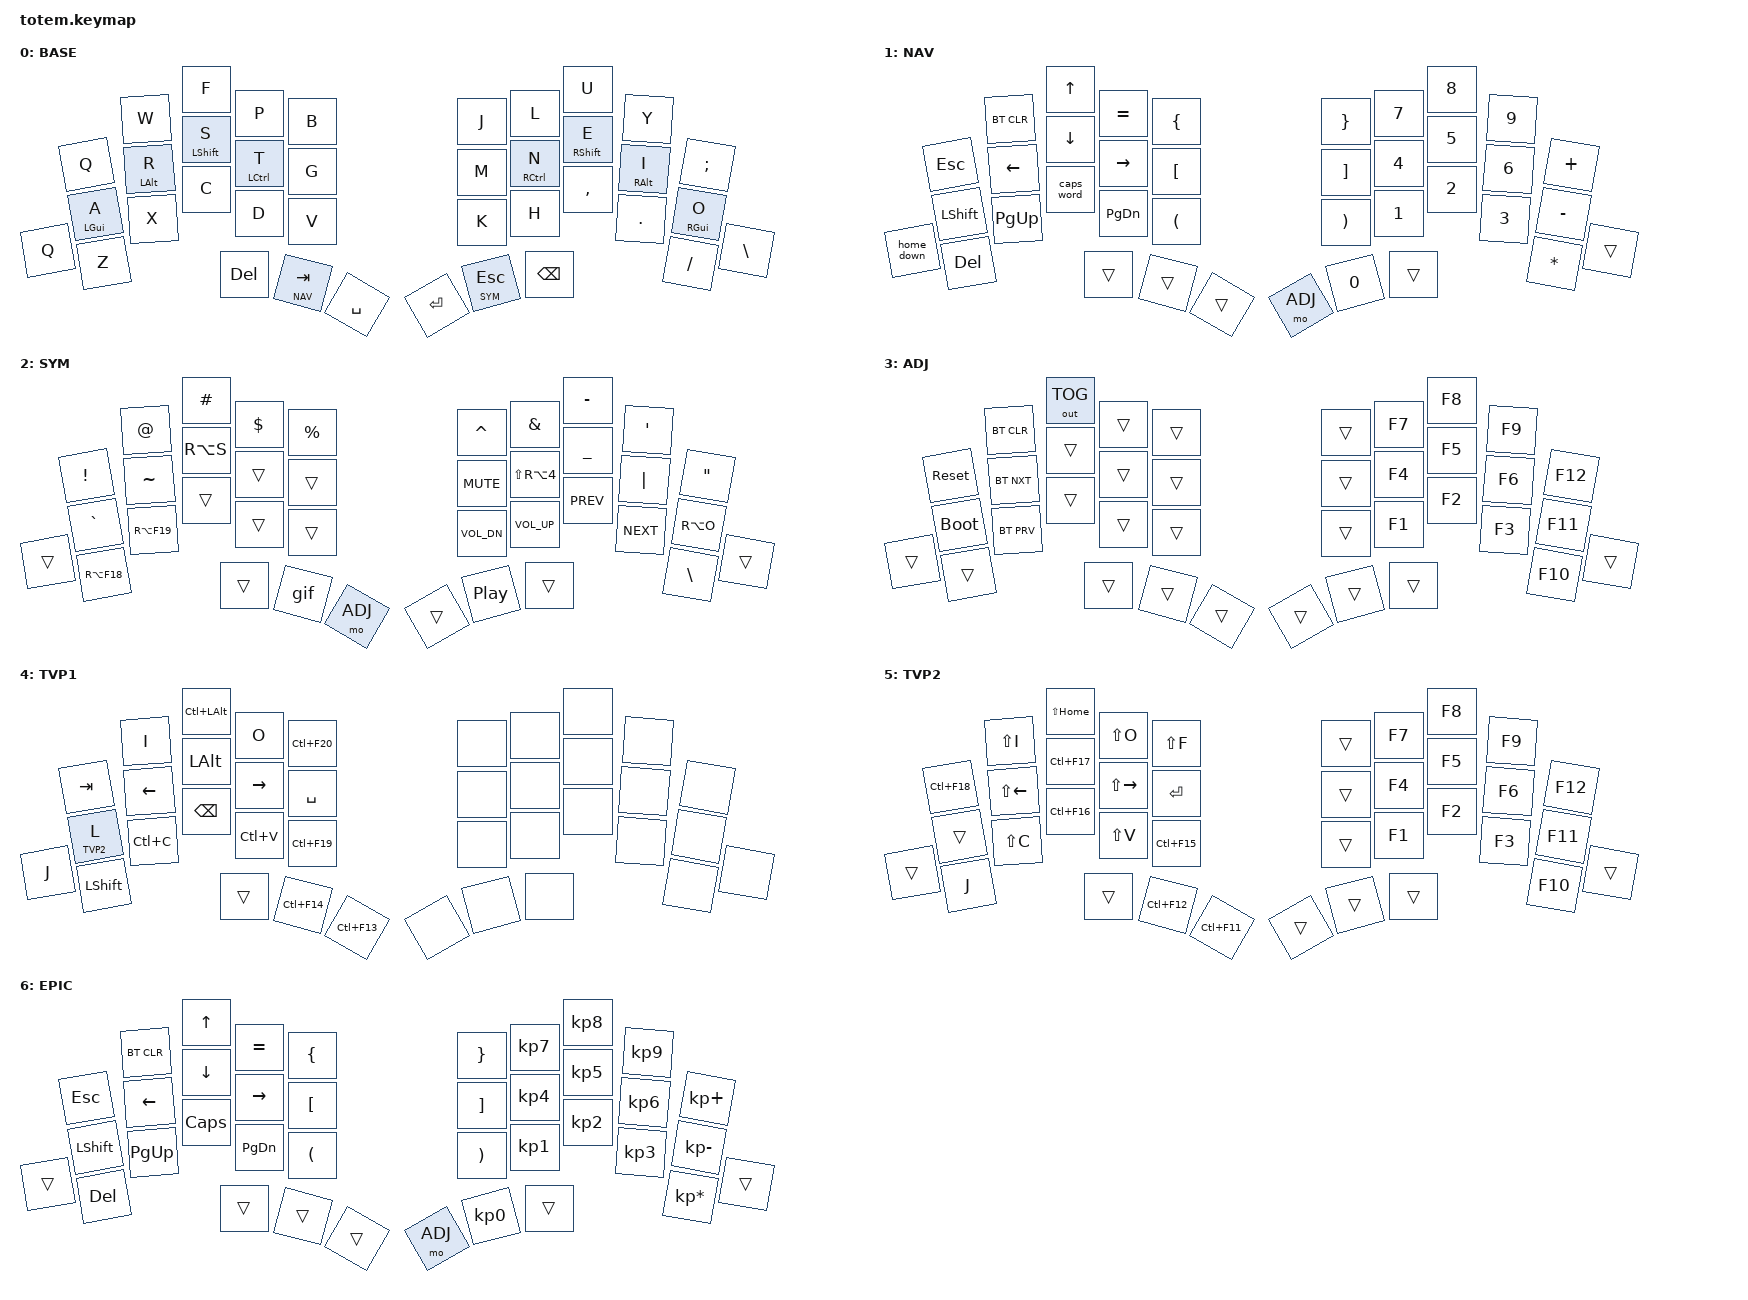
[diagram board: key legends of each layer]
//
//                                                        ▀▀▀▀▀     ▀▀▀▀▀          ▀▀█▀▀
//                                                        ▄▀▀▀▄  ▄  ▄▀▀▀▄  ▄  ▄▀▀▀▄  █  ▄▀▀▀▄
//                                                        █   █  █  █   █  █  █   █  █  █   █
//                                                         ▀▀▀   █   ▀▀▀   █   ▀▀▀   ▀   ▀▀▀
//                                                               █      ▄▄▄█▄▄▄    █   █  
//                                                               ▀      █  █  █     █▄█
//                                                             ▀▀▀▀▀    █  █  █      ▀
//                                                                      ▀  ▀  ▀
//
// ▄▄▄▄▄▄▄▄▄▄▄▄▄▄▄▄▄▄▄▄▄▄▄▄▄▄▄▄▄▄▄▄▄▄▄▄▄▄▄▄▄▄▄▄▄▄▄▄▄▄▄▄▄▄▄▄▄▄▄▄▄▄▄▄▄▄▄▄▄▄▄▄▄▄▄▄▄▄▄▄▄▄▄▄▄▄▄▄▄▄▄▄▄▄▄▄▄▄▄▄▄▄▄▄▄▄▄▄▄▄▄▄▄▄▄▄▄▄▄▄▄▄▄▄▄▄▄▄▄▄▄▄▄▄▄▄▄▄▄▄▄▄▄▄▄▄▄▄▄
       

#include <behaviors.dtsi>
#include <dt-bindings/zmk/keys.h>
#include <dt-bindings/zmk/bt.h>
#include <dt-bindings/zmk/outputs.h>

/* add urob's helpers */
#include "zmk-helpers/helper.h"
#include "zmk-helpers/key-labels/totem.h"

#define BASE 0
#define NAV  1
#define SYM  2
#define ADJ  3
#define TVP1 4
#define TVP2 5
#define EXTRA1 6
#define EXTRA2 7
#define EXTRA3 8
#define EPIC 9


/* Totem (38-key) position map, matching the common totem.keymap order:
 * Row1:  0  1  2  3  4 |  5  6  7  8  9
 * Row2: 10 11 12 13 14 | 15 16 17 18 19
 * Row3: 20 21 22 23 24 25 | 26 27 28 29 30 31
 * Thumbs: 32 33 34 | 35 36 37
 * (This layout order is shown in the Totem keymap’s bindings list.) :contentReference[oaicite:2]{index=2}
 */
/* urobs  key-labels */
 /*                                      38 KEY MATRIX / LAYOUT MAPPING

    ╭────────────────────┬────────────────────╮        ╭──────────────────────┬─────────────────────╮
    │  0   1   2   3   4 │  5   6   7   8   9 │        │  LT4 LT3 LT2 LT1 LT0 │ RT0 RT1 RT2 RT3 RT4 │
 ╭──╯ 10  11  12  13  14 │ 15  16  17  18  19 ╰───╮ ╭──╯  LM4 LM3 LM2 LM1 LM0 │ RM0 RM1 RM2 RM3 RM4 ╰───╮
 │ 20 21  22  23  24  25 │ 26  27  28  29  30  31 │ │ LB5 LB4 LB3 LB2 LB1 LB0 │ RB0 RB1 RB2 RB3 RB4 RB5 │
 ╰──────────╮ 32  33  34 │ 35  36  37 ╭───────────╯ ╰──────────╮  LH2 LH1 LH0 │ RH0 RH1 RH2 ╭───────────╯
            ╰────────────┴────────────╯                        ╰──────────────┴─────────────╯
*/
/* #define TOTEM_L_POS 0 1 2 3 4  10 11 12 13 14  20 21 22 23 24 25  32 33 34 */
/* #define TOTEM_R_POS 5 6 7 8 9  15 16 17 18 19  26 27 28 29 30 31  35 36 37 */

#define TOTEM_L_POS LT0 LT1 LT2 LT3 LT4 LM0 LM1 LM2 LM3 LM4 LB0 LB1 LB2 LB3 LB4 LH2 LH1 LH0 // left hand
#define TOTEM_R_POS RT0 RT1 RT2 RT3 RT4 RM0 RM1 RM2 RM3 RM4 RB0 RB1 RB2 RB3 RB4 RH2 RH1 RH0 // right hand
/* #define THUMBS LH1 LH0 RH0 RH1                                              // thumbs */

/ {
/*  https://zmk.dev/docs/keymaps/behaviors/hold-tap?examples=home_row_mods#custom-hold-tap-examples */

    behaviors {
        hml: home_row_mod_left {
            compatible = "zmk,behavior-hold-tap";
            #binding-cells = <2>;
            flavor = "balanced";
            require-prior-idle-ms = <150>;
            tapping-term-ms = <280>;
            quick-tap-ms = <175>;
            bindings = <&kp>, <&kp>;
            hold-trigger-key-positions = < TOTEM_R_POS >; // List of keys on the right side of the keyboard
            hold-trigger-on-release;
        };
        hmr: home_row_mod_right {
            compatible = "zmk,behavior-hold-tap";
            #binding-cells = <2>;
            flavor = "balanced";
            require-prior-idle-ms = <150>;
            tapping-term-ms = <280>;
            quick-tap-ms = <175>;
            bindings = <&kp>, <&kp>;
            hold-trigger-key-positions = < TOTEM_L_POS >; // List of keys on the left side of the keyboard hold-trigger-on-release;
            hold-trigger-on-release;
        };
    };
     combos {
            compatible = "zmk,combos";
            combo_esc {
                timeout-ms = <50>;
                key-positions = <0 1>;
                bindings = <&kp ESC>;
            };
            combo_tvp {
                timeout-ms = <100>;
                key-positions = <11 12 13>;
                bindings = <&tog TVP1>;
            };
    };

    macros {
        gif: gif {
            //label = "giphy";
            compatible = "zmk,behavior-macro";
            #binding-cells = <0>;
            bindings =
              <&macro_press &kp LSHFT>,
              <&macro_tap &kp N2>,
              <&macro_release &kp LSHFT>,
              <&macro_tap &kp G &kp I &kp F>;
        };
        home_down: home_down {
            //label = "home_down";
            compatible = "zmk,behavior-macro";
            #binding-cells = <0>;
            bindings =
              <&macro_press &kp HOME>,
              <&macro_tap &kp DOWN>,
              <&macro_release &kp HOME>;
        };
    };

    keymap {
            compatible = "zmk,keymap";
  // ▄▄▄▄▄▄▄▄▄▄▄▄▄▄▄▄▄▄▄▄▄▄▄▄▄▄▄▄▄▄▄▄▄▄▄▄▄▄▄▄▄▄▄▄▄▄▄▄▄▄▄▄▄▄▄▄▄▄▄▄▄▄▄▄▄▄▄▄▄▄▄▄▄▄▄▄▄▄▄▄▄▄▄▄▄▄▄▄▄▄▄▄▄▄▄▄▄▄▄▄▄▄▄▄▄▄▄▄▄▄▄▄▄▄▄▄▄▄▄▄▄▄▄▄▄▄▄▄▄▄▄▄▄▄▄▄▄▄▄▄▄▄▄▄▄▄▄▄▄

                BASE {
// ┏━━━━━━━━━━━━━━━━━━━━━━━━━━━━━━━━━━━━━━━┓
//label= "BASE"                              ;
// ┗━━━━━━━━━━━━━━━━━━━━━━━━━━━━━━━━━━━━━━━┛
//             ┏━━━━━━━━━━━┳━━━━━━━━━━━┳━━━━━━━━━━━┳━━━━━━━━━━━┳━━━━━━━━━━━┓   ┏━━━━━━━━━━━┳━━━━━━━━━━━┳━━━━━━━━━━━┳━━━━━━━━━━━┳━━━━━━━━━━━┓
//             ┃     Q     ┃     W     ┃     F     ┃     P     ┃     B     ┃   ┃     J     ┃     L     ┃     U     ┃     Y     ┃     ;     ┃
//             ┣━━━━━━━━━━━╋━━━━━━━━━━━╋━━━━━━━━━━━╋━━━━━━━━━━━╋━━━━━━━━━━━┫   ┣━━━━━━━━━━━╋━━━━━━━━━━━╋━━━━━━━━━━━╋━━━━━━━━━━━╋━━━━━━━━━━━┫
//             ┃     A     ┃     R     ┃     S     ┃     T     ┃     G     ┃   ┃     M     ┃     N     ┃     E     ┃     I     ┃     O     ┃
// ┏━━━━━━━━━━━╋━━━━━━━━━━━╋━━━━━━━━━━━╋━━━━━━━━━━━╋━━━━━━━━━━━╋━━━━━━━━━━━┫   ┣━━━━━━━━━━━╋━━━━━━━━━━━╋━━━━━━━━━━━╋━━━━━━━━━━━╋━━━━━━━━━━━╋━━━━━━━━━━━┓
// ┃     Q     ┃     Z     ┃     X     ┃     C     ┃     D     ┃     V     ┃   ┃     K     ┃     H     ┃     ,     ┃     .     ┃     /     ┃     \     ┃
// ┗━━━━━━━━━━━┻━━━━━━━━━━━┻━━━━━━━━━━━╋━━━━━━━━━━━╋━━━━━━━━━━━╋━━━━━━━━━━━┫   ┣━━━━━━━━━━━╋━━━━━━━━━━━╋━━━━━━━━━━━╋━━━━━━━━━━━┻━━━━━━━━━━━┻━━━━━━━━━━━┛
//                                     ┃    DEL    ┃    TAB    ┃    SPC    ┃   ┃   ENTER   ┃           ┃   BSPC    ┃
//                                     ┗━━━━━━━━━━━┻━━━━━━━━━━━┻━━━━━━━━━━━┛   ┗━━━━━━━━━━━┻━━━━━━━━━━━┻━━━━━━━━━━━┛
display-name = "BASE";
 bindings = <
// ╷           ╷           ╷           ╷           ╷           ╷           ╷   ╷           ╷           ╷           ╷           ╷           ╷           ╷

                &kp Q       &kp W       &kp F       &kp P       &kp B           &kp J       &kp L       &kp U       &kp Y       &kp SEMI
                &hml LGUI A  &hml LALT R  &hml LSHFT S &hml LCTRL T &kp G           &kp M       &hmr RCTRL N &hmr RSHFT E &hmr RALT I  &hmr RGUI O
    &kp Q       &kp Z       &kp X       &kp C       &kp D       &kp V           &kp K       &kp H       &kp COMMA   &kp DOT     &kp FSLH    &kp BSLH
                                        &kp DEL   &lt NAV TAB   &kp SPACE       &kp RET   &lt SYM ESC   &kp BSPC
                        >;
                };

// ▄▄▄▄▄▄▄▄▄▄▄▄▄▄▄▄▄▄▄▄▄▄▄▄▄▄▄▄▄▄▄▄▄▄▄▄▄▄▄▄▄▄▄▄▄▄▄▄▄▄▄▄▄▄▄▄▄▄▄▄▄▄▄▄▄▄▄▄▄▄▄▄▄▄▄▄▄▄▄▄▄▄▄▄▄▄▄▄▄▄▄▄▄▄▄▄▄▄▄▄▄▄▄▄▄▄▄▄▄▄▄▄▄▄▄▄▄▄▄▄▄▄▄▄▄▄▄▄▄▄▄▄▄▄▄▄▄▄▄▄▄▄▄▄▄▄▄▄▄


                NAV {
// ┏━━━━━━━━━━━━━━━━━━━━━━━━━━━━━━━━━━━━━━━┓
//label= "NAVI"                              ;
// ┗━━━━━━━━━━━━━━━━━━━━━━━━━━━━━━━━━━━━━━━┛
//             ┏━━━━━━━━━━━┳━━━━━━━━━━━┳━━━━━━━━━━━┳━━━━━━━━━━━┳━━━━━━━━━━━┓   ┏━━━━━━━━━━━┳━━━━━━━━━━━┳━━━━━━━━━━━┳━━━━━━━━━━━┳━━━━━━━━━━━┓
//             ┃    ESC    ┃   BT_CLR  ┃     UP    ┃  EQUAL    ┃     {     ┃   ┃     }     ┃     7     ┃     8     ┃     9     ┃     +     ┃
//             ┣━━━━━━━━━━━╋━━━━━━━━━━━╋━━━━━━━━━━━╋━━━━━━━━━━━╋━━━━━━━━━━━┫   ┣━━━━━━━━━━━╋━━━━━━━━━━━╋━━━━━━━━━━━╋━━━━━━━━━━━╋━━━━━━━━━━━┫
//             ┃   SHIFT   ┃   LEFT    ┃    DOWN   ┃   RIGHT   ┃     [     ┃   ┃     ]     ┃     4     ┃     5     ┃     6     ┃     -     ┃
// ┏━━━━━━━━━━━╋━━━━━━━━━━━╋━━━━━━━━━━━╋━━━━━━━━━━━╋━━━━━━━━━━━╋━━━━━━━━━━━┫   ┣━━━━━━━━━━━╋━━━━━━━━━━━╋━━━━━━━━━━━╋━━━━━━━━━━━╋━━━━━━━━━━━╋━━━━━━━━━━━┓
// ┃home_down  ┃   DEL     ┃   P UP    ┃  CapsWord ┃  P DOWN   ┃     (     ┃   ┃     )     ┃     1     ┃     2     ┃     3     ┃     *     ┃           ┃
// ┗━━━━━━━━━━━┻━━━━━━━━━━━┻━━━━━━━━━━━╋━━━━━━━━━━━╋━━━━━━━━━━━╋━━━━━━━━━━━┫   ┣━━━━━━━━━━━╋━━━━━━━━━━━╋━━━━━━━━━━━╋━━━━━━━━━━━┻━━━━━━━━━━━┻━━━━━━━━━━━┛
//                                     ┃           ┃    TAB    ┃    SPC    ┃   ┃    ADJ    ┃     0     ┃           ┃
//                                     ┗━━━━━━━━━━━┻━━━━━━━━━━━┻━━━━━━━━━━━┛   ┗━━━━━━━━━━━┻━━━━━━━━━━━┻━━━━━━━━━━━┛
display-name = "NAV";
 bindings = <
// ╷           ╷           ╷           ╷           ╷           ╷           ╷   ╷           ╷           ╷           ╷           ╷           ╷           ╷

                &kp ESC     &bt BT_CLR  &kp UP      &kp EQUAL   &kp LBRC        &kp RBRC    &kp N7   &kp N8   &kp N9   &kp PLUS
                &kp LSHFT   &kp LEFT    &kp DOWN    &kp RIGHT   &kp LBKT        &kp RBKT    &kp N4   &kp N5   &kp N6   &kp MINUS
&home_down      &kp DEL     &kp PG_UP   &caps_word  &kp PG_DN   &kp LPAR        &kp RPAR    &kp N1   &kp N2   &kp N3   &kp ASTERISK &trans
                                        &trans      &trans      &trans          &mo ADJ     &kp N0   &trans
                        >;
                };

// ▄▄▄▄▄▄▄▄▄▄▄▄▄▄▄▄▄▄▄▄▄▄▄▄▄▄▄▄▄▄▄▄▄▄▄▄▄▄▄▄▄▄▄▄▄▄▄▄▄▄▄▄▄▄▄▄▄▄▄▄▄▄▄▄▄▄▄▄▄▄▄▄▄▄▄▄▄▄▄▄▄▄▄▄▄▄▄▄▄▄▄▄▄▄▄▄▄▄▄▄▄▄▄▄▄▄▄▄▄▄▄▄▄▄▄▄▄▄▄▄▄▄▄▄▄▄▄▄▄▄▄▄▄▄▄▄▄▄▄▄▄▄▄▄▄▄▄▄▄


                SYM {
// ┏━━━━━━━━━━━━━━━━━━━━━━━━━━━━━━━━━━━━━━━┓
//label= "SYM"                               ;
// ┗━━━━━━━━━━━━━━━━━━━━━━━━━━━━━━━━━━━━━━━┛
//             ┏━━━━━━━━━━━┳━━━━━━━━━━━┳━━━━━━━━━━━┳━━━━━━━━━━━┳━━━━━━━━━━━┓   ┏━━━━━━━━━━━┳━━━━━━━━━━━┳━━━━━━━━━━━┳━━━━━━━━━━━┳━━━━━━━━━━━┓
//             ┃     !     ┃     @     ┃     #     ┃     $     ┃     %     ┃   ┃     ˆ     ┃     &     ┃     Ü     ┃     '     ┃     "     ┃
//             ┣━━━━━━━━━━━╋━━━━━━━━━━━╋━━━━━━━━━━━╋━━━━━━━━━━━╋━━━━━━━━━━━┫   ┣━━━━━━━━━━━╋━━━━━━━━━━━╋━━━━━━━━━━━╋━━━━━━━━━━━╋━━━━━━━━━━━┫
//             ┃     tilde ┃           ┃    SZ     ┃           ┃           ┃   ┃   MUTE    ┃   YEN     ┃   UNDER   ┃  PIPE     ┃     Ö     ┃
// ┏━━━━━━━━━━━╋━━━━━━━━━━━╋━━━━━━━━━━━╋━━━━━━━━━━━╋━━━━━━━━━━━╋━━━━━━━━━━━┫   ┣━━━━━━━━━━━╋━━━━━━━━━━━╋━━━━━━━━━━━╋━━━━━━━━━━━╋━━━━━━━━━━━╋━━━━━━━━━━━┓
// ┃           ┃  EMAIL1   ┃  EMAIL2   ┃           ┃           ┃           ┃   ┃   VOL-    ┃   VOL+    ┃   LAST    ┃   NEXT    ┃     \     ┃           ┃
// ┗━━━━━━━━━━━┻━━━━━━━━━━━┻━━━━━━━━━━━╋━━━━━━━━━━━╋━━━━━━━━━━━╋━━━━━━━━━━━┫   ┣━━━━━━━━━━━╋━━━━━━━━━━━╋━━━━━━━━━━━╋━━━━━━━━━━━┻━━━━━━━━━━━┻━━━━━━━━━━━┛
//                                     ┃           ┃    GIF    ┃    ADJ    ┃   ┃           ┃           ┃           ┃
//                                     ┗━━━━━━━━━━━┻━━━━━━━━━━━┻━━━━━━━━━━━┛   ┗━━━━━━━━━━━┻━━━━━━━━━━━┻━━━━━━━━━━━┛
display-name = "SYM";
 bindings = <
// ╷           ╷           ╷           ╷           ╷           ╷           ╷   ╷           ╷           ╷           ╷           ╷           ╷           ╷

                &kp EXCL    &kp AT      &kp HASH    &kp DLLR    &kp PRCNT       &kp CARET   &kp AMPS    &kp MINUS   &kp SQT     &kp DQT
                &kp GRAVE   &kp TILDE   &kp RA(S)   &trans      &trans          &kp C_MUTE  &kp LS(RA(N4)) &kp UNDER &kp PIPE   &kp RA(O)
    &trans      &kp RA(F18) &kp RA(F19) &trans      &trans      &trans          &kp C_VOL_DN &kp C_VOL_UP &kp C_PREV &kp C_NEXT  &kp BSLH   &trans
                                        &trans      &gif        &mo ADJ         &trans      &kp C_PP    &trans
                        >;
                };

// ▄▄▄▄▄▄▄▄▄▄▄▄▄▄▄▄▄▄▄▄▄▄▄▄▄▄▄▄▄▄▄▄▄▄▄▄▄▄▄▄▄▄▄▄▄▄▄▄▄▄▄▄▄▄▄▄▄▄▄▄▄▄▄▄▄▄▄▄▄▄▄▄▄▄▄▄▄▄▄▄▄▄▄▄▄▄▄▄▄▄▄▄▄▄▄▄▄▄▄▄▄▄▄▄▄▄▄▄▄▄▄▄▄▄▄▄▄▄▄▄▄▄▄▄▄▄▄▄▄▄▄▄▄▄▄▄▄▄▄▄▄▄▄▄▄▄▄▄▄


                ADJ {
// ┏━━━━━━━━━━━━━━━━━━━━━━━━━━━━━━━━━━━━━━━┓
//label= "ADJ"                               ;
// ┗━━━━━━━━━━━━━━━━━━━━━━━━━━━━━━━━━━━━━━━┛
//             ┏━━━━━━━━━━━┳━━━━━━━━━━━┳━━━━━━━━━━━┳━━━━━━━━━━━┳━━━━━━━━━━━┓   ┏━━━━━━━━━━━┳━━━━━━━━━━━┳━━━━━━━━━━━┳━━━━━━━━━━━┳━━━━━━━━━━━┓
//             ┃   RESET   ┃ BT CLEAR  ┃  OUT TOG  ┃           ┃           ┃   ┃           ┃    F7     ┃    F8     ┃    F9     ┃    F12    ┃
//             ┣━━━━━━━━━━━╋━━━━━━━━━━━╋━━━━━━━━━━━╋━━━━━━━━━━━╋━━━━━━━━━━━┫   ┣━━━━━━━━━━━╋━━━━━━━━━━━╋━━━━━━━━━━━╋━━━━━━━━━━━╋━━━━━━━━━━━┫
//             ┃ BOOTLOAD  ┃ BT NEXT   ┃           ┃           ┃           ┃   ┃           ┃    F4     ┃    F5     ┃    F6     ┃    F11    ┃
// ┏━━━━━━━━━━━╋━━━━━━━━━━━╋━━━━━━━━━━━╋━━━━━━━━━━━╋━━━━━━━━━━━╋━━━━━━━━━━━┫   ┣━━━━━━━━━━━╋━━━━━━━━━━━╋━━━━━━━━━━━╋━━━━━━━━━━━╋━━━━━━━━━━━╋━━━━━━━━━━━┓
// ┃           ┃           ┃ BT PREV   ┃           ┃           ┃           ┃   ┃           ┃    F1     ┃    F2     ┃    F3     ┃    F10    ┃           ┃
// ┗━━━━━━━━━━━┻━━━━━━━━━━━┻━━━━━━━━━━━╋━━━━━━━━━━━╋━━━━━━━━━━━╋━━━━━━━━━━━┫   ┣━━━━━━━━━━━╋━━━━━━━━━━━╋━━━━━━━━━━━╋━━━━━━━━━━━┻━━━━━━━━━━━┻━━━━━━━━━━━┛
//                                     ┃           ┃           ┃           ┃   ┃           ┃           ┃           ┃
//                                     ┗━━━━━━━━━━━┻━━━━━━━━━━━┻━━━━━━━━━━━┛   ┗━━━━━━━━━━━┻━━━━━━━━━━━┻━━━━━━━━━━━┛
display-name = "ADJ";
 bindings = <
// ╷           ╷           ╷           ╷           ╷           ╷           ╷   ╷           ╷           ╷           ╷           ╷           ╷           ╷

                &sys_reset  &bt BT_CLR &out OUT_TOG &trans      &trans          &trans      &kp F7      &kp F8      &kp F9      &kp F12
                &bootloader &bt BT_NXT  &trans      &trans      &trans          &trans      &kp F4      &kp F5      &kp F6      &kp F11
    &trans      &trans      &bt BT_PRV  &trans      &trans      &trans          &trans      &kp F1      &kp F2      &kp F3      &kp F10     &trans
                                        &trans      &trans      &trans          &trans      &trans      &trans
                        >;
                };

// ▄▄▄▄▄▄▄▄▄▄▄▄▄▄▄▄▄▄▄▄▄▄▄▄▄▄▄▄▄▄▄▄▄▄▄▄▄▄▄▄▄▄▄▄▄▄▄▄▄▄▄▄▄▄▄▄▄▄▄▄▄▄▄▄▄▄▄▄▄▄▄▄▄▄▄▄▄▄▄▄▄▄▄▄▄▄▄▄▄▄▄▄▄▄▄▄▄▄▄▄▄▄▄▄▄▄▄▄▄▄▄▄▄▄▄▄▄▄▄▄▄▄▄▄▄▄▄▄▄▄▄▄▄▄▄▄▄▄▄▄▄▄▄▄▄▄▄▄▄


                tvp1_layer {
// ┏━━━━━━━━━━━━━━━━━━━━━━━━━━━━━━━━━━━━━━━┓
//label= "TVP 1"                             ;
// ┗━━━━━━━━━━━━━━━━━━━━━━━━━━━━━━━━━━━━━━━┛
//             ┏━━━━━━━━━━━┳━━━━━━━━━━━┳━━━━━━━━━━━┳━━━━━━━━━━━┳━━━━━━━━━━━┓   ┏━━━━━━━━━━━┳━━━━━━━━━━━┳━━━━━━━━━━━┳━━━━━━━━━━━┳━━━━━━━━━━━┓
//             ┃ NEXT FILE ┃ MARK IN   ┃ ROTATE    ┃ MARK OUT  ┃ SHOW SNAP ┃   ┃           ┃           ┃           ┃           ┃           ┃
//             ┣━━━━━━━━━━━╋━━━━━━━━━━━╋━━━━━━━━━━━╋━━━━━━━━━━━╋━━━━━━━━━━━┫   ┣━━━━━━━━━━━╋━━━━━━━━━━━╋━━━━━━━━━━━╋━━━━━━━━━━━╋━━━━━━━━━━━┫
//             ┃ TVP II    ┃ LEFT      ┃ PAN       ┃ RIGHT     ┃ PLAY/FLIP ┃   ┃           ┃           ┃           ┃           ┃           ┃
// ┏━━━━━━━━━━━╋━━━━━━━━━━━╋━━━━━━━━━━━╋━━━━━━━━━━━╋━━━━━━━━━━━╋━━━━━━━━━━━┫   ┣━━━━━━━━━━━╋━━━━━━━━━━━╋━━━━━━━━━━━╋━━━━━━━━━━━╋━━━━━━━━━━━╋━━━━━━━━━━━┓
// ┃ FULLSCR   ┃ SHIFT     ┃ COPY      ┃ DELETE    ┃ PASTE     ┃ IMG MARK  ┃   ┃           ┃           ┃           ┃           ┃           ┃           ┃
// ┗━━━━━━━━━━━┻━━━━━━━━━━━┻━━━━━━━━━━━╋━━━━━━━━━━━╋━━━━━━━━━━━╋━━━━━━━━━━━┫   ┣━━━━━━━━━━━╋━━━━━━━━━━━╋━━━━━━━━━━━╋━━━━━━━━━━━┻━━━━━━━━━━━┻━━━━━━━━━━━┛
//                                     ┃           ┃ UNDO/SAVE ┃  SEL/MOV  ┃   ┃           ┃           ┃           ┃
//                                     ┗━━━━━━━━━━━┻━━━━━━━━━━━┻━━━━━━━━━━━┛   ┗━━━━━━━━━━━┻━━━━━━━━━━━┻━━━━━━━━━━━┛
display-name = "TVP1";
 bindings = <
// ╷           ╷           ╷           ╷           ╷           ╷           ╷   ╷           ╷           ╷           ╷           ╷           ╷           ╷

                &kp TAB     &kp I       &kp LC(LALT) &kp O      &kp LC(F20)     &none       &none       &none       &none       &none
                &lt TVP2 L  &kp LEFT    &kp LALT    &kp RIGHT   &kp SPACE       &none       &none       &none       &none       &none
    &kp J       &kp LSHFT   &kp LC(C)   &kp BSPC    &kp LC(V)   &kp LC(F19)     &none       &none       &none       &none       &none       &none        
                                        &trans      &kp LC(F14) &kp LC(F13)     &none       &none       &none
                        >;
                };

// ▄▄▄▄▄▄▄▄▄▄▄▄▄▄▄▄▄▄▄▄▄▄▄▄▄▄▄▄▄▄▄▄▄▄▄▄▄▄▄▄▄▄▄▄▄▄▄▄▄▄▄▄▄▄▄▄▄▄▄▄▄▄▄▄▄▄▄▄▄▄▄▄▄▄▄▄▄▄▄▄▄▄▄▄▄▄▄▄▄▄▄▄▄▄▄▄▄▄▄▄▄▄▄▄▄▄▄▄▄▄▄▄▄▄▄▄▄▄▄▄▄▄▄▄▄▄▄▄▄▄▄▄▄▄▄▄▄▄▄▄▄▄▄▄▄▄▄▄▄


                tvp2_layer {
// ┏━━━━━━━━━━━━━━━━━━━━━━━━━━━━━━━━━━━━━━━┓
//label= "TVP 2"                             ;
// ┗━━━━━━━━━━━━━━━━━━━━━━━━━━━━━━━━━━━━━━━┛
//             ┏━━━━━━━━━━━┳━━━━━━━━━━━┳━━━━━━━━━━━┳━━━━━━━━━━━┳━━━━━━━━━━━┓   ┏━━━━━━━━━━━┳━━━━━━━━━━━┳━━━━━━━━━━━┳━━━━━━━━━━━┳━━━━━━━━━━━┓
//             ┃ SOLO      ┃ TOGGLE IN ┃ RESET ROT ┃ TOGGLE OUT┃ TAKE SNAP ┃   ┃           ┃           ┃           ┃           ┃           ┃
//             ┣━━━━━━━━━━━╋━━━━━━━━━━━╋━━━━━━━━━━━╋━━━━━━━━━━━╋━━━━━━━━━━━┫   ┣━━━━━━━━━━━╋━━━━━━━━━━━╋━━━━━━━━━━━╋━━━━━━━━━━━╋━━━━━━━━━━━┫
//             ┃ ---       ┃ LAST KEY  ┃ NEW KEY   ┃ NEXT KEY  ┃ ENTER     ┃   ┃           ┃           ┃           ┃           ┃           ┃
// ┏━━━━━━━━━━━╋━━━━━━━━━━━╋━━━━━━━━━━━╋━━━━━━━━━━━╋━━━━━━━━━━━╋━━━━━━━━━━━┫   ┣━━━━━━━━━━━╋━━━━━━━━━━━╋━━━━━━━━━━━╋━━━━━━━━━━━╋━━━━━━━━━━━╋━━━━━━━━━━━┓
// ┃           ┃ FULLSCR   ┃ CPY2BRUSH ┃ DEL HEAD  ┃ PSTinPLACE┃ BOOK MARK ┃   ┃           ┃           ┃           ┃           ┃           ┃           ┃
// ┗━━━━━━━━━━━┻━━━━━━━━━━━┻━━━━━━━━━━━╋━━━━━━━━━━━╋━━━━━━━━━━━╋━━━━━━━━━━━┫   ┣━━━━━━━━━━━╋━━━━━━━━━━━╋━━━━━━━━━━━╋━━━━━━━━━━━┻━━━━━━━━━━━┻━━━━━━━━━━━┛
//                                     ┃           ┃ REDO/SAV1 ┃TRANS/WARP ┃   ┃           ┃           ┃           ┃
//                                     ┗━━━━━━━━━━━┻━━━━━━━━━━━┻━━━━━━━━━━━┛   ┗━━━━━━━━━━━┻━━━━━━━━━━━┻━━━━━━━━━━━┛
display-name = "TVP2";
 bindings = <
// ╷           ╷           ╷           ╷           ╷           ╷           ╷   ╷           ╷           ╷           ╷           ╷           ╷           ╷

                &kp LC(F18) &kp LS(I)  &kp LS(HOME) &kp LS(O)   &kp LS(F)       &trans      &kp F7      &kp F8      &kp F9      &kp F12
                &trans      &kp LS(LEFT) &kp LC(F17) &kp LS(RIGHT) &kp RET      &trans      &kp F4      &kp F5      &kp F6      &kp F11
    &trans      &kp J       &kp LS(C)   &kp LC(F16) &kp LS(V)   &kp LC(F15)     &trans      &kp F1      &kp F2      &kp F3      &kp F10     &trans         
                                        &trans      &kp LC(F12) &kp LC(F11)     &trans      &trans      &trans
                        >;
                };
                extra1 {
            status = "reserved";
// ┏━━━━━━━━━━━━━━━━━━━━━━━━━━━━━━━━━━━━━━━┓
//label= "EXTRA1"                             ;
// ┗━━━━━━━━━━━━━━━━━━━━━━━━━━━━━━━━━━━━━━━┛
                };

                extra2 {
// ┏━━━━━━━━━━━━━━━━━━━━━━━━━━━━━━━━━━━━━━━┓
//label= "EXTRA2"                             ;
// ┗━━━━━━━━━━━━━━━━━━━━━━━━━━━━━━━━━━━━━━━┛
display-name = "EXTRA2";
                    status = "reserved";
                };
              extra3 {
// ┏━━━━━━━━━━━━━━━━━━━━━━━━━━━━━━━━━━━━━━━┓
//label= "EXTRA3"                             ;
// ┗━━━━━━━━━━━━━━━━━━━━━━━━━━━━━━━━━━━━━━━┛
display-name = "EXTRA3";
                    status = "reserved";
                };

                EPIC {
// ┏━━━━━━━━━━━━━━━━━━━━━━━━━━━━━━━━━━━━━━━┓
//label= "EPIC"                              ;
// ┗━━━━━━━━━━━━━━━━━━━━━━━━━━━━━━━━━━━━━━━┛
//             ┏━━━━━━━━━━━┳━━━━━━━━━━━┳━━━━━━━━━━━┳━━━━━━━━━━━┳━━━━━━━━━━━┓   ┏━━━━━━━━━━━┳━━━━━━━━━━━┳━━━━━━━━━━━┳━━━━━━━━━━━┳━━━━━━━━━━━┓
//             ┃           ┃           ┃     UP    ┃           ┃     {     ┃   ┃     }     ┃     7     ┃     8     ┃     9     ┃     +     ┃
//             ┣━━━━━━━━━━━╋━━━━━━━━━━━╋━━━━━━━━━━━╋━━━━━━━━━━━╋━━━━━━━━━━━┫   ┣━━━━━━━━━━━╋━━━━━━━━━━━╋━━━━━━━━━━━╋━━━━━━━━━━━╋━━━━━━━━━━━┫
//             ┃   SHIFT   ┃   LEFT    ┃    DOWN   ┃   RIGHT   ┃     [     ┃   ┃     ]     ┃     4     ┃     5     ┃     6     ┃     -     ┃
// ┏━━━━━━━━━━━╋━━━━━━━━━━━╋━━━━━━━━━━━╋━━━━━━━━━━━╋━━━━━━━━━━━╋━━━━━━━━━━━┫   ┣━━━━━━━━━━━╋━━━━━━━━━━━╋━━━━━━━━━━━╋━━━━━━━━━━━╋━━━━━━━━━━━╋━━━━━━━━━━━┓
// ┃           ┃           ┃   P UP    ┃  C LOCK   ┃  P DOWN   ┃     (     ┃   ┃     )     ┃     1     ┃     2     ┃     3     ┃     *     ┃           ┃
// ┗━━━━━━━━━━━┻━━━━━━━━━━━┻━━━━━━━━━━━╋━━━━━━━━━━━╋━━━━━━━━━━━╋━━━━━━━━━━━┫   ┣━━━━━━━━━━━╋━━━━━━━━━━━╋━━━━━━━━━━━╋━━━━━━━━━━━┻━━━━━━━━━━━┻━━━━━━━━━━━┛
//                                     ┃           ┃    TAB    ┃    SPC    ┃   ┃    DEL    ┃     0     ┃           ┃
//                                     ┗━━━━━━━━━━━┻━━━━━━━━━━━┻━━━━━━━━━━━┛   ┗━━━━━━━━━━━┻━━━━━━━━━━━┻━━━━━━━━━━━┛
display-name = "EPIC";
 bindings = <
// ╷           ╷           ╷           ╷           ╷           ╷           ╷   ╷           ╷           ╷           ╷           ╷           ╷           ╷

                &kp ESC     &bt BT_CLR  &kp UP      &kp EQUAL   &kp LBRC        &kp RBRC    &kp KP_N7   &kp KP_N8   &kp KP_N9   &kp KP_PLUS
                &kp LSHFT   &kp LEFT    &kp DOWN    &kp RIGHT   &kp LBKT        &kp RBKT    &kp KP_N4   &kp KP_N5   &kp KP_N6   &kp KP_MINUS
    &trans      &kp DEL     &kp PG_UP   &kp CAPS    &kp PG_DN   &kp LPAR        &kp RPAR    &kp KP_N1   &kp KP_N2   &kp KP_N3   &kp KP_MULTIPLY &trans      
                                        &trans      &trans      &trans          &mo ADJ     &kp KP_N0   &trans
                        >;
                };

        };
};
